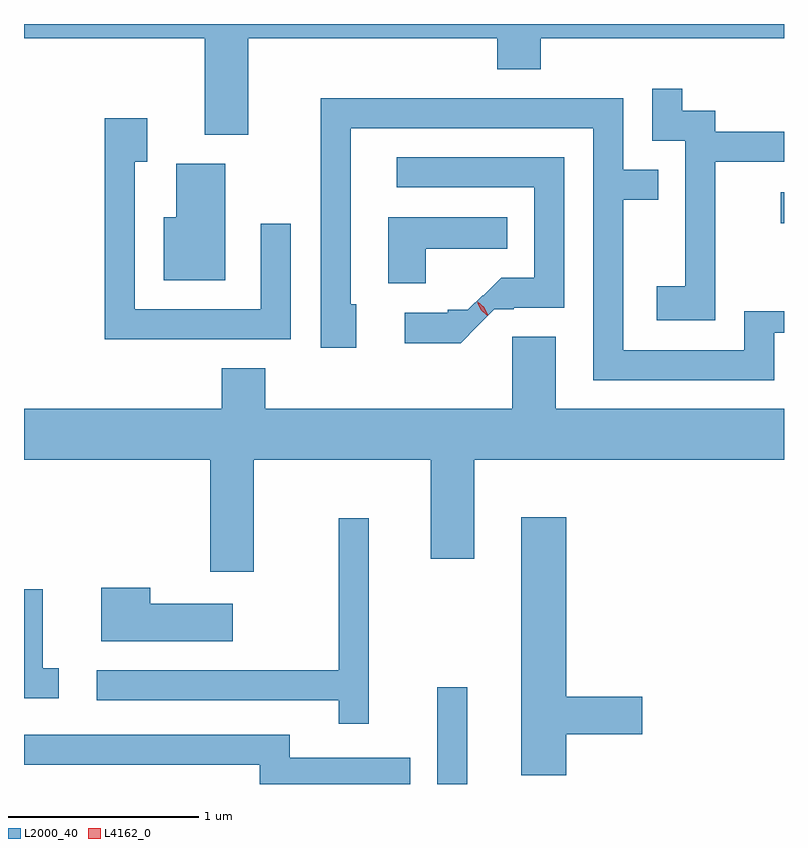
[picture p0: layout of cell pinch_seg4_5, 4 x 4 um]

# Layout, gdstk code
import gdstk
lib = gdstk.Library(unit=1e-6, precision=1e-09)
def R(c, l, rs):  # rectangles x0, y0, x1, y1
    for r in rs: c.add(gdstk.rectangle(r[:2], r[2:], *l))
def P(c, l, *ps):  # polygons
    for p in ps: c.add(gdstk.Polygon(p, *l))
L2000_40 = (2000, 40)
L4162_0 = (4162, 0)

pinch_seg4_5 = lib.new_cell('pinch_seg4_5')
R(pinch_seg4_5, L2000_40, [(857.876,1319.67,858.034,1320.178), (859.683,1322.621,859.7,1322.784)])
P(pinch_seg4_5, L2000_40, [(856.879,1323.596),(858.191,1323.596),(858.191,1323.431),(858.419,1323.431),(858.419,1323.596),(859.7,1323.596),(859.7,1323.67),(855.7,1323.67),(855.7,1323.596),(856.651,1323.596),(856.651,1323.086),(856.879,1323.086)],
  [(859.339,1322.946),(859.7,1322.946),(859.7,1323.104),(859.339,1323.104),(859.339,1323.214),(859.164,1323.214),(859.164,1323.328),(859.006,1323.328),(859.006,1323.056),(859.181,1323.056),(859.181,1322.289),(859.031,1322.289),(859.031,1322.111),(859.339,1322.111)],
  [(859.649,1322.044),(859.7,1322.044),(859.7,1322.159),(859.491,1322.159),(859.491,1321.954),(858.854,1321.954),(858.854,1322.746),(859.038,1322.746),(859.038,1322.904),(858.854,1322.904),(858.854,1323.279),(857.261,1323.279),(857.261,1321.966),(857.449,1321.966),(857.449,1322.194),(857.419,1322.194),(857.419,1323.121),(858.696,1323.121),(858.696,1321.796),(859.649,1321.796)],
  [(857.104,1322.618),(856.946,1322.618),(856.946,1322.169),(856.284,1322.169),(856.284,1322.946),(856.349,1322.946),(856.349,1323.174),(856.126,1323.174),(856.126,1322.011),(857.104,1322.011)],
  [(858.092,1322.084),(858.091,1322.085),(858.175,1322.169),(858.277,1322.169),(858.277,1322.176),(858.544,1322.176),(858.544,1322.969),(857.663,1322.969),(857.663,1322.811),(858.386,1322.811),(858.386,1322.334),(858.212,1322.334),(858.117,1322.24),(858.114,1322.243),(858.036,1322.165),(857.931,1322.165),(857.931,1322.149),(857.703,1322.149),(857.703,1321.991),(857.999,1321.991)],
  [(856.759,1322.934),(856.501,1322.934),(856.501,1322.654),(856.436,1322.654),(856.436,1322.321),(856.759,1322.321)],
  [(857.814,1322.486),(858.243,1322.486),(858.243,1322.654),(857.616,1322.654),(857.616,1322.306),(857.814,1322.306)],
  [(856.909,1321.376),(857.841,1321.376),(857.841,1320.856),(858.069,1320.856),(858.069,1321.376),(859.7,1321.376),(859.7,1321.644),(858.499,1321.644),(858.499,1322.024),(858.271,1322.024),(858.271,1321.644),(856.969,1321.644),(856.969,1321.859),(856.741,1321.859),(856.741,1321.644),(855.7,1321.644),(855.7,1321.376),(856.681,1321.376),(856.681,1320.786),(856.909,1320.786)],
  [(858.554,1319.931),(858.954,1319.931),(858.954,1320.129),(858.554,1320.129),(858.554,1321.074),(858.316,1321.074),(858.316,1319.716),(858.554,1319.716)],
  [(857.514,1321.068),(857.356,1321.068),(857.356,1320.269),(856.083,1320.269),(856.083,1320.111),(857.356,1320.111),(857.356,1319.988),(857.514,1319.988)],
  [(856.799,1320.619),(856.364,1320.619),(856.364,1320.704),(856.106,1320.704),(856.106,1320.421),(856.799,1320.421)],
  [(855.883,1320.279),(855.799,1320.279),(855.799,1320.694),(855.7,1320.694),(855.7,1320.121),(855.883,1320.121)],
  [(857.733,1319.809),(857.099,1319.809),(857.099,1319.929),(855.7,1319.929),(855.7,1319.771),(856.941,1319.771),(856.941,1319.67),(857.733,1319.67)])
P(pinch_seg4_5, L4162_0, [(858.136,1322.138),(858.103,1322.165),(858.085,1322.204),(858.085,1322.204),(858.086,1322.204),(858.119,1322.177),(858.137,1322.139),(858.137,1322.138)],
  [(858.142,1322.137),(858.106,1322.168),(858.085,1322.211),(858.085,1322.212),(858.086,1322.212),(858.122,1322.18),(858.143,1322.138),(858.143,1322.137)])

lib.write_gds('pinch_seg4_5.gds')
